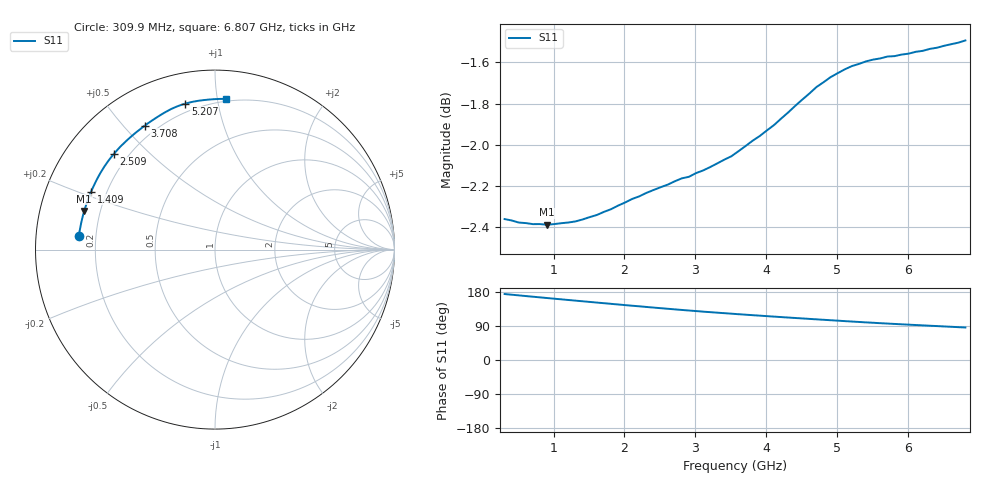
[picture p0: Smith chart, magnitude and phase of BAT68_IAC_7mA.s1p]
! Infineon Technologies  Discrete & RF Semiconductors
! BAT68
! IAC = 7 mA
! One-Port S-Parameters
# Hz  S  MA  R  50
!f  S11
!Hz  Mag  Ang
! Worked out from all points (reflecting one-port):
!   66 points, 309.9 MHz to 6.807 GHz, reference 50 ohm
!   lowest |S11| = -2.4 dB at 909.5 MHz (marker M1), VSWR 7.32, Z = 6.97 + j7.1 ohm
!   phase of S11 starts at 174 deg and turns -88 deg over the sweep
!   S11 on the Smith chart (normalised r, x): 309.9 MHz: 0.14, +0.05; 1.409 GHz: 0.14, +0.22; 2.509 GHz: 0.15, +0.39; 3.708 GHz: 0.15, +0.57; 5.207 GHz: 0.15, +0.81; 6.807 GHz: 0.18, +1.06
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3.0985e8  0.762 174.1
6.097e8  0.7602 168.7
9.0955e8  0.7595 163.5
1.0095e9  0.7598 161.7
1.2094e9  0.7605 158.4
1.4093e9  0.7618 154.9
1.70915e9  0.765 149.9
2.009e9  0.7691 144.9
2.2089e9  0.7717 141.6
2.50875e9  0.7756 136.7
2.6087e9  0.7768 135.3
2.70865e9  0.7782 133.6
2.8086e9  0.7795 132.1
3.0085e9  0.7818 129.1
3.2084e9  0.7845 126.3
3.6082e9  0.7915 120.8
3.70815e9  0.7938 119.6
4.008e9  0.8007 115.7
4.4078e9  0.8118 110.9
4.6077e9  0.8174 108.5
4.8076e9  0.8226 106.1
5.0075e9  0.8268 103.8
5.2074e9  0.8301 101.5
5.4073e9  0.8323 99.2
5.6072e9  0.8336 97.1
6.007e9  0.8359 93.2
6.30685e9  0.8381 90.4
6.8066e9  0.8421 85.8
